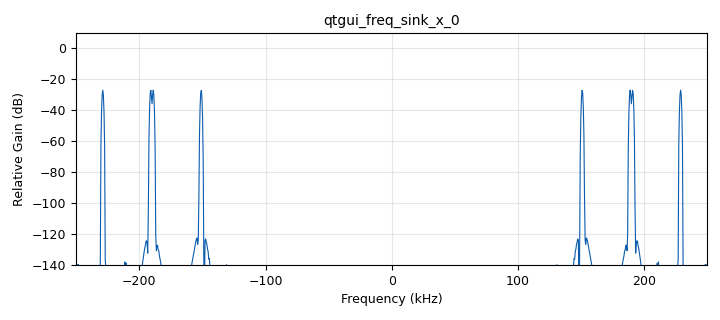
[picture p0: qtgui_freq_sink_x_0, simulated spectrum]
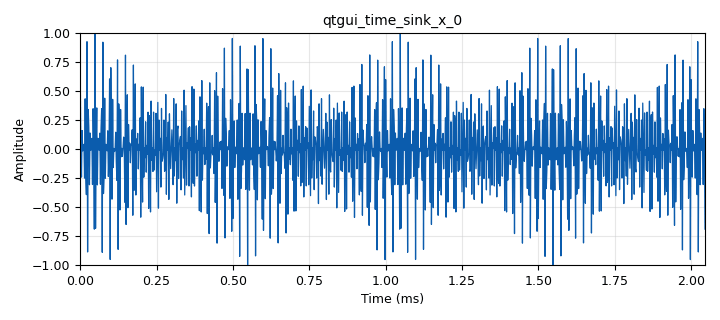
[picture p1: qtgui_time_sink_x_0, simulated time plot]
options:
  parameters:
    author: Luis Sánchez y Sofía Valero
    copyright: UIS
    generate_options: qt_gui
    id: Punto3
    output_language: python
    title: Suma y multiplicacion de señales
  states: {}

blocks:
- name: samp_rate
  id: variable
  parameters:
    value: '500000'
  states: {}
- name: analog_sig_source_x_0
  id: analog_sig_source_x
  parameters:
    amp: '1'
    freq: '19000'
    offset: '0'
    phase: '0'
    samp_rate: samp_rate
    type: float
    waveform: analog.GR_COS_WAVE
  states: {}
- name: analog_sig_source_x_1
  id: analog_sig_source_x
  parameters:
    amp: '1'
    freq: '190000'
    offset: '0'
    phase: '0'
    samp_rate: samp_rate
    type: float
    waveform: analog.GR_COS_WAVE
  states: {}
- name: analog_sig_source_x_2
  id: analog_sig_source_x
  parameters:
    amp: '1'
    freq: '20000'
    offset: '0'
    phase: '0'
    samp_rate: samp_rate
    type: float
    waveform: analog.GR_COS_WAVE
  states: {}
- name: blocks_multiply_xx_0
  id: blocks_multiply_xx
  parameters:
    num_inputs: '3'
    type: float
  states: {}
- name: qtgui_freq_sink_x_0
  id: qtgui_freq_sink_x
  parameters:
    bw: samp_rate
    fc: '0'
    fftsize: '1024'
    type: float
    wintype: firdes.WIN_BLACKMAN_hARRIS
  states: {}
- name: qtgui_time_sink_x_0
  id: qtgui_time_sink_x
  parameters:
    size: '1024'
    srate: samp_rate
    type: float
  states: {}

connections:
- [analog_sig_source_x_0, '0', blocks_multiply_xx_0, '0']
- [analog_sig_source_x_1, '0', blocks_multiply_xx_0, '1']
- [analog_sig_source_x_2, '0', blocks_multiply_xx_0, '2']
- [blocks_multiply_xx_0, '0', qtgui_freq_sink_x_0, '0']
- [blocks_multiply_xx_0, '0', qtgui_time_sink_x_0, '0']

metadata:
  file_format: 1
